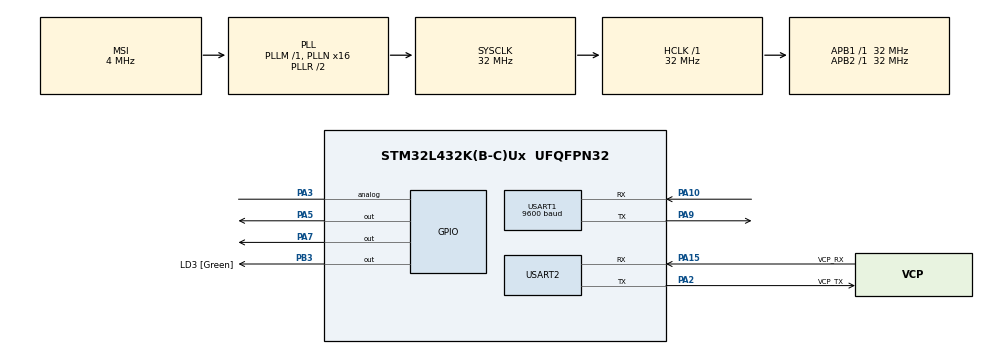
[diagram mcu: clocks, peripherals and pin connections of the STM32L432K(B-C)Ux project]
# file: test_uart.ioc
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Mcu.Family=STM32L4
Mcu.Name=STM32L432K(B-C)Ux
Mcu.Package=UFQFPN32
NVIC.PriorityGroup=NVIC_PRIORITYGROUP_4
PA0.GPIO_Label=MCO [High speed clock in]
PA0.Mode=HSE-External-Clock-Source-for-LittleOrca
PA0.Signal=RCC_CK_IN
PA10.Mode=Asynchronous
PA10.Signal=USART1_RX
PA13\ (JTMS-SWDIO).GPIO_Label=SWDIO
PA13\ (JTMS-SWDIO).Mode=Serial_Wire
PA13\ (JTMS-SWDIO).Signal=SYS_JTMS-SWDIO
PA14\ (JTCK-SWCLK).GPIO_Label=SWCLK
PA14\ (JTCK-SWCLK).Mode=Serial_Wire
PA14\ (JTCK-SWCLK).Signal=SYS_JTCK-SWCLK
PA15\ (JTDI).GPIO_Label=VCP_RX
PA15\ (JTDI).Mode=LIN
PA15\ (JTDI).Signal=USART2_RX
PA2.GPIO_Label=VCP_TX
PA2.Mode=LIN
PA2.Signal=USART2_TX
PA3.Signal=GPIO_Analog
PA5.Signal=GPIO_Output
PA7.Signal=GPIO_Output
PA9.Mode=Asynchronous
PA9.Signal=USART1_TX
PB3\ (JTDO-TRACESWO).GPIO_Label=LD3 [Green]
PB3\ (JTDO-TRACESWO).Signal=GPIO_Output
PB7.Signal=LPTIM1_IN2
PC14-OSC32_IN\ (PC14).Mode=LSE-External-Oscillator
PC14-OSC32_IN\ (PC14).Signal=RCC_OSC32_IN
PC15-OSC32_OUT\ (PC15).Mode=LSE-External-Oscillator
PC15-OSC32_OUT\ (PC15).Signal=RCC_OSC32_OUT
ProjectManager.HeapSize=0x200
ProjectManager.StackSize=0x400
ProjectManager.TargetToolchain=STM32CubeIDE
RCC.AHBFreq_Value=32000000
RCC.APB1Freq_Value=32000000
RCC.APB1TimFreq_Value=32000000
RCC.APB2Freq_Value=32000000
RCC.APB2TimFreq_Value=32000000
RCC.CortexFreq_Value=32000000
RCC.HCLKFreq_Value=32000000
RCC.HSE_VALUE=8000000
RCC.HSI16_VALUE=16000000
RCC.HSI48_VALUE=48000000
RCC.HSI_VALUE=16000000
RCC.MSI_VALUE=4000000
RCC.PLLMUL=RCC_PLLMUL_4
RCC.PLLN=16
RCC.SYSCLKFreq_VALUE=32000000
RCC.SYSCLKSource=RCC_SYSCLKSOURCE_PLLCLK
RCC.VCOOutputFreq_Value=64000000
USART1.BaudRate=9600
USART1.Parity=PARITY_EVEN
USART1.StopBits=STOPBITS_2
USART1.VirtualMode-Asynchronous=VM_ASYNC
USART1.WordLength=WORDLENGTH_9B
USART2.VirtualMode-LIN=VM_LIN
board=NUCLEO-L432KC

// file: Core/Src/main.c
/* USER CODE BEGIN Header */
/**
  ******************************************************************************
  * @file           : main.c
  * @brief          : Main program body
  ******************************************************************************
  * @attention
  *
  * Copyright (c) 2026 STMicroelectronics.
  * All rights reserved.
  *
  * This software is licensed under terms that can be found in the LICENSE file
  * in the root directory of this software component.
  * If no LICENSE file comes with this software, it is provided AS-IS.
  *
  ******************************************************************************
  */
/* USER CODE END Header */
#include "main.h"

/* USER CODE BEGIN PTD */
// Définition de la structure pour calquer exactement la trame de la Raspberry Pi
typedef struct {
    uint8_t header[2];       // Devrait recevoir [0xAA, 0x55]
    uint8_t premier_octet;   // C'est ICI que sera stockée ta première valeur (10)
    uint8_t valeurs[7];      // Les 7 autres valeurs (20, 30, 40, 50, 60, 70, 80)
    uint8_t footer[2];       // Devrait recevoir [0x0D, 0x0A]
} __attribute__((packed)) TrameRpi_t;
/* USER CODE END PTD */

UART_HandleTypeDef huart1;
UART_HandleTypeDef huart2;

void SystemClock_Config(void);
static void MX_GPIO_Init(void);
static void MX_USART2_UART_Init(void);
static void MX_USART1_UART_Init(void);

/* USER CODE BEGIN PV */
// Ces variables doivent être au tout début du fichier (Private Variables)
uint32_t chrono_envoi = 0;
uint8_t lettre_a_envoyer = 'A';
uint8_t mode_led = 0; // 0 = Eteint, 1 = Fixe, 2 = Clignote
uint32_t chrono_led = 0;
/* USER CODE END PV */

int main(void)
{
  /* Initialisations système (Générées par CubeIDE) */
  HAL_Init();
  SystemClock_Config();
  MX_GPIO_Init();
  MX_USART1_UART_Init();
  MX_USART2_UART_Init();

  /* USER CODE BEGIN 2 */
  // Message de démarrage pour tester le TX
  char hello[] = "System Ready\r\n";
  HAL_UART_Transmit(&huart1, (uint8_t*)hello, strlen(hello), 100);
  /* USER CODE END 2 */

  /* Infinite loop */
    /* USER CODE BEGIN WHILE */
    TrameRpi_t maTrame; // Variable pour stocker la trame reçue
    uint8_t ma_variable_cible = 0; // La variable où sera isolé le premier octet

    while (1)
    {
        // On attend de recevoir exactement 12 octets sur l'USART1
        // Le timeout est mis à 2000ms car la RPi envoie toutes les 1000ms
        if (HAL_UART_Receive(&huart1, (uint8_t*)&maTrame, 12, 2000) == HAL_OK)
        {
            // Vérification de sécurité : est-ce que le Header et le Footer sont valides ?
            if (maTrame.header[0] == 0xAA && maTrame.header[1] == 0x55 &&
                maTrame.footer[0] == 0x0D && maTrame.footer[1] == 0x0A)
            {
                // OUI ! La trame est valide.
                // On affilie le premier octet de données à notre variable :
                ma_variable_cible = maTrame.premier_octet; // ma_variable_cible vaut maintenant 10 !

                // Petit test : Si le premier octet vaut bien 10, on allume la LED (PB3/LD3)
                if (ma_variable_cible == 10)
                {
                    HAL_GPIO_WritePin(GPIOB, GPIO_PIN_3, GPIO_PIN_SET);
                }
                else
                {
                    HAL_GPIO_WritePin(GPIOB, GPIO_PIN_3, GPIO_PIN_RESET);
                }
            }
        }
        else
        {
            // Si on n'a rien reçu au bout de 2 secondes, on éteint la LED (erreur/déconnexion)
            HAL_GPIO_WritePin(GPIOB, GPIO_PIN_3, GPIO_PIN_RESET);
        }

        // ATTENTION : Plus de HAL_Delay() ici !
        // C'est le HAL_UART_Receive qui rythme la boucle en attendant le paquet.
      /* USER CODE END WHILE */

    }
}
  /* USER CODE END WHILE */
void SystemClock_Config(void)
{
  RCC_OscInitTypeDef RCC_OscInitStruct = {0};
  RCC_ClkInitTypeDef RCC_ClkInitStruct = {0};

  /** Configure the main internal regulator output voltage
  */
  if (HAL_PWREx_ControlVoltageScaling(PWR_REGULATOR_VOLTAGE_SCALE1) != HAL_OK)
  {
    Error_Handler();
  }

  /** Configure LSE Drive Capability
  */
  HAL_PWR_EnableBkUpAccess();
  __HAL_RCC_LSEDRIVE_CONFIG(RCC_LSEDRIVE_LOW);

  /** Initializes the RCC Oscillators according to the specified parameters
  * in the RCC_OscInitTypeDef structure.
  */
  RCC_OscInitStruct.OscillatorType = RCC_OSCILLATORTYPE_LSE|RCC_OSCILLATORTYPE_MSI;
  RCC_OscInitStruct.LSEState = RCC_LSE_ON;
  RCC_OscInitStruct.MSIState = RCC_MSI_ON;
  RCC_OscInitStruct.MSICalibrationValue = 0;
  RCC_OscInitStruct.MSIClockRange = RCC_MSIRANGE_6;
  RCC_OscInitStruct.PLL.PLLState = RCC_PLL_ON;
  RCC_OscInitStruct.PLL.PLLSource = RCC_PLLSOURCE_MSI;
  RCC_OscInitStruct.PLL.PLLM = 1;
  RCC_OscInitStruct.PLL.PLLN = 16;
  RCC_OscInitStruct.PLL.PLLP = RCC_PLLP_DIV7;
  RCC_OscInitStruct.PLL.PLLQ = RCC_PLLQ_DIV2;
  RCC_OscInitStruct.PLL.PLLR = RCC_PLLR_DIV2;
  if (HAL_RCC_OscConfig(&RCC_OscInitStruct) != HAL_OK)
  {
    Error_Handler();
  }

  /** Initializes the CPU, AHB and APB buses clocks
  */
  RCC_ClkInitStruct.ClockType = RCC_CLOCKTYPE_HCLK|RCC_CLOCKTYPE_SYSCLK
                              |RCC_CLOCKTYPE_PCLK1|RCC_CLOCKTYPE_PCLK2;
  RCC_ClkInitStruct.SYSCLKSource = RCC_SYSCLKSOURCE_PLLCLK;
  RCC_ClkInitStruct.AHBCLKDivider = RCC_SYSCLK_DIV1;
  RCC_ClkInitStruct.APB1CLKDivider = RCC_HCLK_DIV1;
  RCC_ClkInitStruct.APB2CLKDivider = RCC_HCLK_DIV1;

  if (HAL_RCC_ClockConfig(&RCC_ClkInitStruct, FLASH_LATENCY_1) != HAL_OK)
  {
    Error_Handler();
  }

  /** Enable MSI Auto calibration
  */
  HAL_RCCEx_EnableMSIPLLMode();
}

static void MX_USART1_UART_Init(void)
{

  huart1.Instance = USART1;
  huart1.Init.BaudRate = 9600;
  huart1.Init.WordLength = UART_WORDLENGTH_9B;
  huart1.Init.StopBits = UART_STOPBITS_2;
  huart1.Init.Parity = UART_PARITY_EVEN;
  huart1.Init.Mode = UART_MODE_TX_RX;
  huart1.Init.HwFlowCtl = UART_HWCONTROL_NONE;
  huart1.Init.OverSampling = UART_OVERSAMPLING_16;
  huart1.Init.OneBitSampling = UART_ONE_BIT_SAMPLE_DISABLE;
  huart1.AdvancedInit.AdvFeatureInit = UART_ADVFEATURE_NO_INIT;
  if (HAL_UART_Init(&huart1) != HAL_OK)
  {
    Error_Handler();
  }

}

static void MX_USART2_UART_Init(void)
{

  huart2.Instance = USART2;
  huart2.Init.BaudRate = 115200;
  huart2.Init.WordLength = UART_WORDLENGTH_8B;
  huart2.Init.StopBits = UART_STOPBITS_1;
  huart2.Init.Parity = UART_PARITY_NONE;
  huart2.Init.Mode = UART_MODE_TX_RX;
  huart2.Init.HwFlowCtl = UART_HWCONTROL_NONE;
  huart2.Init.OverSampling = UART_OVERSAMPLING_16;
  huart2.Init.OneBitSampling = UART_ONE_BIT_SAMPLE_DISABLE;
  huart2.AdvancedInit.AdvFeatureInit = UART_ADVFEATURE_NO_INIT;
  if (HAL_LIN_Init(&huart2, UART_LINBREAKDETECTLENGTH_10B) != HAL_OK)
  {
    Error_Handler();
  }

}

static void MX_GPIO_Init(void)
{
  GPIO_InitTypeDef GPIO_InitStruct = {0};

  /* GPIO Ports Clock Enable */
  __HAL_RCC_GPIOC_CLK_ENABLE();
  __HAL_RCC_GPIOA_CLK_ENABLE();
  __HAL_RCC_GPIOB_CLK_ENABLE();

  /*Configure GPIO pin Output Level */
  HAL_GPIO_WritePin(GPIOA, GPIO_PIN_5|GPIO_PIN_7, GPIO_PIN_RESET);

  /*Configure GPIO pin Output Level */
  HAL_GPIO_WritePin(LD3_GPIO_Port, LD3_Pin, GPIO_PIN_RESET);

  /*Configure GPIO pin : PA3 */
  GPIO_InitStruct.Pin = GPIO_PIN_3;
  GPIO_InitStruct.Mode = GPIO_MODE_ANALOG;
  GPIO_InitStruct.Pull = GPIO_NOPULL;
  HAL_GPIO_Init(GPIOA, &GPIO_InitStruct);

  /*Configure GPIO pins : PA5 PA7 */
  GPIO_InitStruct.Pin = GPIO_PIN_5|GPIO_PIN_7;
  GPIO_InitStruct.Mode = GPIO_MODE_OUTPUT_PP;
  GPIO_InitStruct.Pull = GPIO_NOPULL;
  GPIO_InitStruct.Speed = GPIO_SPEED_FREQ_LOW;
  HAL_GPIO_Init(GPIOA, &GPIO_InitStruct);

  /*Configure GPIO pin : LD3_Pin */
  GPIO_InitStruct.Pin = LD3_Pin;
  GPIO_InitStruct.Mode = GPIO_MODE_OUTPUT_PP;
  GPIO_InitStruct.Pull = GPIO_NOPULL;
  GPIO_InitStruct.Speed = GPIO_SPEED_FREQ_LOW;
  HAL_GPIO_Init(LD3_GPIO_Port, &GPIO_InitStruct);

  /*Configure GPIO pin : PB7 */
  GPIO_InitStruct.Pin = GPIO_PIN_7;
  GPIO_InitStruct.Mode = GPIO_MODE_AF_PP;
  GPIO_InitStruct.Pull = GPIO_NOPULL;
  GPIO_InitStruct.Speed = GPIO_SPEED_FREQ_LOW;
  GPIO_InitStruct.Alternate = GPIO_AF1_LPTIM1;
  HAL_GPIO_Init(GPIOB, &GPIO_InitStruct);

}

void Error_Handler(void)
{
  __disable_irq();
  while (1)
  {
  }
}
